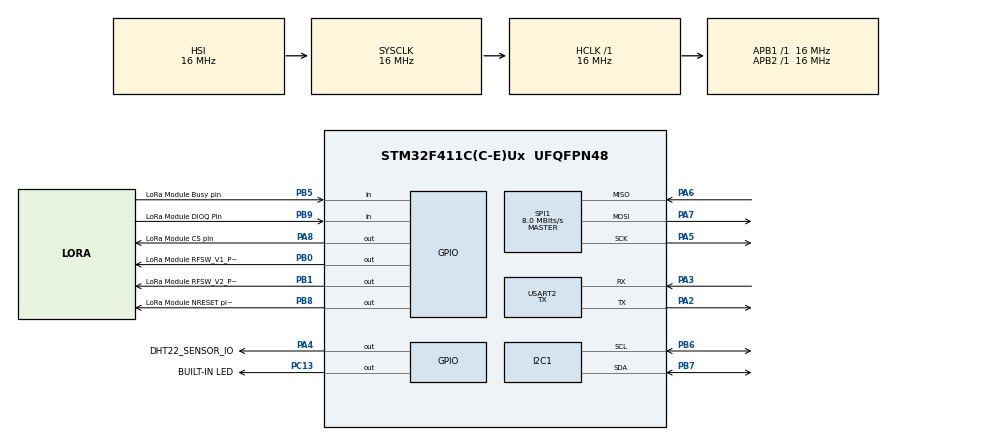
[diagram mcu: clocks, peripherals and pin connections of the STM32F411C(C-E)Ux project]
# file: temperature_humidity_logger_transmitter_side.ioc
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Mcu.Family=STM32F4
Mcu.Name=STM32F411C(C-E)Ux
Mcu.Package=UFQFPN48
NVIC.PriorityGroup=NVIC_PRIORITYGROUP_4
NVIC.RTC_WKUP_IRQn=true\:0\:0\:false\:false\:true\:true\:true\:true
PA0-WKUP.Mode=SYS_WakeUp0
PA0-WKUP.Signal=SYS_WKUP
PA2.GPIO_Speed=GPIO_SPEED_FREQ_LOW
PA2.Mode=Asynchronous
PA2.Signal=USART2_TX
PA3.GPIO_Speed=GPIO_SPEED_FREQ_LOW
PA3.Mode=Asynchronous
PA3.Signal=USART2_RX
PA4.GPIO_Label=DHT22_SENSOR_IO
PA4.GPIO_ModeDefaultOutputPP=GPIO_MODE_OUTPUT_OD
PA4.GPIO_PuPd=GPIO_PULLUP
PA4.PinState=GPIO_PIN_SET
PA4.Signal=GPIO_Output
PA5.GPIO_Speed=GPIO_SPEED_FREQ_LOW
PA5.Mode=Full_Duplex_Master
PA5.Signal=SPI1_SCK
PA6.GPIO_Speed=GPIO_SPEED_FREQ_LOW
PA6.Mode=Full_Duplex_Master
PA6.Signal=SPI1_MISO
PA7.GPIO_Speed=GPIO_SPEED_FREQ_LOW
PA7.Mode=Full_Duplex_Master
PA7.Signal=SPI1_MOSI
PA8.GPIO_Label=LoRa Module CS pin
PA8.PinState=GPIO_PIN_SET
PA8.Signal=GPIO_Output
PB0.GPIO_Label=LoRa Module RFSW_V1_PIN_POS
PB0.Signal=GPIO_Output
PB1.GPIO_Label=LoRa Module RFSW_V2_PIN_POS
PB1.Signal=GPIO_Output
PB5.GPIO_Label=LoRa Module Busy pin
PB5.Signal=GPIO_Input
PB6.Mode=I2C
PB6.Signal=I2C1_SCL
PB7.Mode=I2C
PB7.Signal=I2C1_SDA
PB8.GPIO_Label=LoRa Module NRESET pin (Active-Low)
PB8.PinState=GPIO_PIN_SET
PB8.Signal=GPIO_Output
PB9.GPIO_Label=LoRa Module DIOQ Pin
PB9.GPIO_PuPd=GPIO_PULLDOWN
PB9.Signal=GPIO_Input
PC13-ANTI_TAMP.GPIO_Label=BUILT-IN LED
PC13-ANTI_TAMP.PinState=GPIO_PIN_SET
PC13-ANTI_TAMP.Signal=GPIO_Output
PC14-OSC32_IN.Mode=LSE-External-Oscillator
PC14-OSC32_IN.Signal=RCC_OSC32_IN
PC15-OSC32_OUT.Mode=LSE-External-Oscillator
PC15-OSC32_OUT.Signal=RCC_OSC32_OUT
ProjectManager.HeapSize=0x200
ProjectManager.StackSize=0x400
ProjectManager.TargetToolchain=STM32CubeIDE
RCC.48MHZClocksFreq_Value=48000000
RCC.AHBFreq_Value=16000000
RCC.APB1Freq_Value=16000000
RCC.APB1TimFreq_Value=16000000
RCC.APB2Freq_Value=16000000
RCC.APB2TimFreq_Value=16000000
RCC.CortexFreq_Value=16000000
RCC.HCLKFreq_Value=16000000
RCC.HSE_VALUE=25000000
RCC.HSI_VALUE=16000000
RCC.RCC_RTC_Clock_Source=RCC_RTCCLKSOURCE_LSE
RCC.RCC_RTC_Clock_SourceVirtual=RCC_RTCCLKSOURCE_LSE
RCC.SYSCLKFreq_VALUE=16000000
RCC.VCOOutputFreq_Value=192000000
RTC.SynchPrediv=255
RTC.WakeUpClock=RTC_WAKEUPCLOCK_CK_SPRE_16BITS
SPI1.BaudRatePrescaler=SPI_BAUDRATEPRESCALER_2
SPI1.CLKPhase=SPI_PHASE_1EDGE
SPI1.CalculateBaudRate=8.0 MBits/s
SPI1.Direction=SPI_DIRECTION_2LINES
SPI1.Mode=SPI_MODE_MASTER
SPI1.VirtualType=VM_MASTER
TIM2.AutoReloadPreload=TIM_AUTORELOAD_PRELOAD_ENABLE
TIM2.Prescaler=15
USART2.Mode=MODE_TX
USART2.VirtualMode=VM_ASYNC
VP_RTC_VS_RTC_Activate.Mode=RTC_Enabled
VP_RTC_VS_RTC_WakeUp_intern.Mode=WakeUp
VP_TIM2_VS_ClockSourceINT.Mode=Internal
board=custom

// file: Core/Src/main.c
/* USER CODE BEGIN Header */
/**
  ******************************************************************************
  * @file           : main.c
  * @brief          : Main program body
  ******************************************************************************
  * @attention
  *
  * Copyright (c) 2026 STMicroelectronics.
  * All rights reserved.
  *
  * This software is licensed under terms that can be found in the LICENSE file
  * in the root directory of this software component.
  * If no LICENSE file comes with this software, it is provided AS-IS.
  *
  ******************************************************************************
  */
/* USER CODE END Header */
#include "main.h"

/* USER CODE BEGIN Includes */

#include "rylr689_driver.h"
//#include "gpio_driver.h"
#include <string.h>
#include "stm32_commons.h"
#include "dht22_driver.h"
#include "temp_hum_commons.h"

/* USER CODE END Includes */

I2C_HandleTypeDef hi2c1;

RTC_HandleTypeDef hrtc;

SPI_HandleTypeDef hspi1;

TIM_HandleTypeDef htim2;

UART_HandleTypeDef huart2;

void SystemClock_Config(void);
static void MX_GPIO_Init(void);
static void MX_RTC_Init(void);
static void MX_SPI1_Init(void);
static void MX_USART2_UART_Init(void);
static void MX_I2C1_Init(void);
static void MX_TIM2_Init(void);
/* USER CODE BEGIN PFP */
void processTempHumidSensorData(const raw_dht22_data_t *rawSensorData, dht22_data_t *sensorData);
int celsiusToFahrenheit(uint16_t rawTempReading);
/* USER CODE END PFP */

int main(void)
{

  /* MCU Configuration--------------------------------------------------------*/

  /* Reset of all peripherals, Initializes the Flash interface and the Systick. */
  HAL_Init();

  /* Configure the system clock */
  SystemClock_Config();

  /* Initialize all configured peripherals */
  MX_GPIO_Init();
  MX_RTC_Init();
  MX_SPI1_Init();
  MX_USART2_UART_Init();
  MX_I2C1_Init();
  MX_TIM2_Init();
  /* USER CODE BEGIN 2 */

    uint8_t status[256];
    rylr689_instance_t radio1 = {
  		  .spiHandle = &hspi1,
  		  .spiReceive = wrapper_spi_receive,
  		  .spiTransmit = wrapper_spi_transmit,
  		  .pinWrite = wrapper_pin_write,
  		  .pinRead = wrapper_pin_read,
  		  .rxBuff = status,
  		  .rxBuffSize = RX_BUFF_SIZE,
  		  .txBuff = status,
  		  .txBuffSize = TX_BUFF_SIZE
    };

    radio1.csPin.pin = LoRa_Module_CS_pin_Pin;
    radio1.csPin.port = LoRa_Module_CS_pin_GPIO_Port;
    radio1.busyPin.pin = LoRa_Module_Busy_pin_Pin;
    radio1.busyPin.port = LoRa_Module_Busy_pin_GPIO_Port;
    radio1.nresetPin.pin = LoRa_Module_NRESET_pin_Pin;
    radio1.nresetPin.port = LoRa_Module_NRESET_pin_GPIO_Port;
    radio1.itPin.pin = LoRa_Module_DIOQ_Pin_Pin;
    radio1.itPin.port = LoRa_Module_DIOQ_Pin_GPIO_Port;
    radio1.rfswV1Pin.pin = LoRa_Module_RFSW_V1_PIN_POS_Pin;
    radio1.rfswV1Pin.port = LoRa_Module_RFSW_V1_PIN_POS_GPIO_Port;
    radio1.rfswV2Pin.pin = LoRa_Module_RFSW_V2_PIN_POS_Pin;
    radio1.rfswV2Pin.port = LoRa_Module_RFSW_V2_PIN_POS_GPIO_Port;

    rylr689_radio_init(&radio1);

    /* Turn off built-in LED. */
    HAL_GPIO_WritePin(BUILT_IN_LED_GPIO_Port, BUILT_IN_LED_Pin, GPIO_PIN_SET);

    raw_dht22_data_t thRawSensorData;
    dht22_data_t thProcessedData;

    dht22_instance_t thSensor = {
    		.timerHandle = &htim2,
		.ioPin = {
				.port = DHT22_SENSOR_IO_GPIO_Port,
				.pin = DHT22_SENSOR_IO_Pin
		},
		.pinWrite = wrapper_pin_write,
		.pinRead = wrapper_pin_read,
		.changePinMode = wrapper_gpio_pin_mode_change,
		.delay_us = wrapper_timer_delay,
		.delay_ms = wrapper_delay,
		.getTime = wrapper_timer_get_time
    };

  /* USER CODE END 2 */

  /* Infinite loop */
  /* USER CODE BEGIN WHILE */
  while (1)
  {
	  HAL_TIM_Base_Start(&htim2);
	  if(dht22_read(&thSensor, &thRawSensorData)) {
		  /* Skip index 0. */
		  status[0] = STATUS_SENSOR_QUERY_OK;
		  memcpy(status + 1, (uint8_t*)&thRawSensorData, sizeof(raw_dht22_data_t));
//		  processTempHumidSensorData(&thRawSensorData, &thProcessedData);
//		  sprintf((char*)status, "Humidity: %d.%d%% Temp: %d.%d Celsius", thProcessedData.humidityInt, thProcessedData.humidityDec, thProcessedData.tempInt, thProcessedData.tempDec);
//		  HAL_UART_Transmit(&huart2, status, strlen((char*)status), 100);
	  }
	  else {
		  /* Turn on-board LED ON. */
		  HAL_GPIO_WritePin(BUILT_IN_LED_GPIO_Port, BUILT_IN_LED_Pin, GPIO_PIN_RESET);
		  status[0] = STATUS_SENSOR_QUERY_ERROR;
		  memset(status + 1, 0, sizeof(raw_dht22_data_t)); /* Fill the rest of the packet with null. */
		  HAL_Delay(500);
//		  sprintf((char*)status, "Error: failed to read sensor.");
	  }
	  HAL_TIM_Base_Stop(&htim2);

	  rylr689_radio_send(&radio1, sizeof(raw_dht22_data_t) + 1);

	  /* Sleep for 15 minutes. */
	  enterStandbyRtcWkTimer(&hrtc, 900);

    /* USER CODE END WHILE */

  }
}

void SystemClock_Config(void)
{
  RCC_OscInitTypeDef RCC_OscInitStruct = {0};
  RCC_ClkInitTypeDef RCC_ClkInitStruct = {0};

  /** Configure the main internal regulator output voltage
  */
  __HAL_RCC_PWR_CLK_ENABLE();
  __HAL_PWR_VOLTAGESCALING_CONFIG(PWR_REGULATOR_VOLTAGE_SCALE1);

  /** Initializes the RCC Oscillators according to the specified parameters
  * in the RCC_OscInitTypeDef structure.
  */
  RCC_OscInitStruct.OscillatorType = RCC_OSCILLATORTYPE_HSI|RCC_OSCILLATORTYPE_LSE;
  RCC_OscInitStruct.LSEState = RCC_LSE_ON;
  RCC_OscInitStruct.HSIState = RCC_HSI_ON;
  RCC_OscInitStruct.HSICalibrationValue = RCC_HSICALIBRATION_DEFAULT;
  RCC_OscInitStruct.PLL.PLLState = RCC_PLL_NONE;
  if (HAL_RCC_OscConfig(&RCC_OscInitStruct) != HAL_OK)
  {
    Error_Handler();
  }

  /** Initializes the CPU, AHB and APB buses clocks
  */
  RCC_ClkInitStruct.ClockType = RCC_CLOCKTYPE_HCLK|RCC_CLOCKTYPE_SYSCLK
                              |RCC_CLOCKTYPE_PCLK1|RCC_CLOCKTYPE_PCLK2;
  RCC_ClkInitStruct.SYSCLKSource = RCC_SYSCLKSOURCE_HSI;
  RCC_ClkInitStruct.AHBCLKDivider = RCC_SYSCLK_DIV1;
  RCC_ClkInitStruct.APB1CLKDivider = RCC_HCLK_DIV1;
  RCC_ClkInitStruct.APB2CLKDivider = RCC_HCLK_DIV1;

  if (HAL_RCC_ClockConfig(&RCC_ClkInitStruct, FLASH_LATENCY_0) != HAL_OK)
  {
    Error_Handler();
  }
}

static void MX_I2C1_Init(void)
{

  hi2c1.Instance = I2C1;
  hi2c1.Init.ClockSpeed = 100000;
  hi2c1.Init.DutyCycle = I2C_DUTYCYCLE_2;
  hi2c1.Init.OwnAddress1 = 0;
  hi2c1.Init.AddressingMode = I2C_ADDRESSINGMODE_7BIT;
  hi2c1.Init.DualAddressMode = I2C_DUALADDRESS_DISABLE;
  hi2c1.Init.OwnAddress2 = 0;
  hi2c1.Init.GeneralCallMode = I2C_GENERALCALL_DISABLE;
  hi2c1.Init.NoStretchMode = I2C_NOSTRETCH_DISABLE;
  if (HAL_I2C_Init(&hi2c1) != HAL_OK)
  {
    Error_Handler();
  }

}

static void MX_RTC_Init(void)
{

  RTC_TimeTypeDef sTime = {0};
  RTC_DateTypeDef sDate = {0};

  /** Initialize RTC Only
  */
  hrtc.Instance = RTC;
  hrtc.Init.HourFormat = RTC_HOURFORMAT_24;
  hrtc.Init.AsynchPrediv = 127;
  hrtc.Init.SynchPrediv = 255;
  hrtc.Init.OutPut = RTC_OUTPUT_DISABLE;
  hrtc.Init.OutPutPolarity = RTC_OUTPUT_POLARITY_HIGH;
  hrtc.Init.OutPutType = RTC_OUTPUT_TYPE_OPENDRAIN;
  if (HAL_RTC_Init(&hrtc) != HAL_OK)
  {
    Error_Handler();
  }

  /** Initialize RTC and set the Time and Date
  */
  sTime.Hours = 0x0;
  sTime.Minutes = 0x0;
  sTime.Seconds = 0x0;
  sTime.DayLightSaving = RTC_DAYLIGHTSAVING_NONE;
  sTime.StoreOperation = RTC_STOREOPERATION_RESET;
  if (HAL_RTC_SetTime(&hrtc, &sTime, RTC_FORMAT_BCD) != HAL_OK)
  {
    Error_Handler();
  }
  sDate.WeekDay = RTC_WEEKDAY_MONDAY;
  sDate.Month = RTC_MONTH_JANUARY;
  sDate.Date = 0x1;
  sDate.Year = 0x0;

  if (HAL_RTC_SetDate(&hrtc, &sDate, RTC_FORMAT_BCD) != HAL_OK)
  {
    Error_Handler();
  }

  /** Enable the WakeUp
  */
  if (HAL_RTCEx_SetWakeUpTimer_IT(&hrtc, 0, RTC_WAKEUPCLOCK_CK_SPRE_16BITS) != HAL_OK)
  {
    Error_Handler();
  }

}

static void MX_SPI1_Init(void)
{

  /* SPI1 parameter configuration*/
  hspi1.Instance = SPI1;
  hspi1.Init.Mode = SPI_MODE_MASTER;
  hspi1.Init.Direction = SPI_DIRECTION_2LINES;
  hspi1.Init.DataSize = SPI_DATASIZE_8BIT;
  hspi1.Init.CLKPolarity = SPI_POLARITY_LOW;
  hspi1.Init.CLKPhase = SPI_PHASE_1EDGE;
  hspi1.Init.NSS = SPI_NSS_SOFT;
  hspi1.Init.BaudRatePrescaler = SPI_BAUDRATEPRESCALER_2;
  hspi1.Init.FirstBit = SPI_FIRSTBIT_MSB;
  hspi1.Init.TIMode = SPI_TIMODE_DISABLE;
  hspi1.Init.CRCCalculation = SPI_CRCCALCULATION_DISABLE;
  hspi1.Init.CRCPolynomial = 10;
  if (HAL_SPI_Init(&hspi1) != HAL_OK)
  {
    Error_Handler();
  }

}

static void MX_TIM2_Init(void)
{

  TIM_ClockConfigTypeDef sClockSourceConfig = {0};
  TIM_MasterConfigTypeDef sMasterConfig = {0};

  htim2.Instance = TIM2;
  htim2.Init.Prescaler = 15;
  htim2.Init.CounterMode = TIM_COUNTERMODE_UP;
  htim2.Init.Period = 4294967295;
  htim2.Init.ClockDivision = TIM_CLOCKDIVISION_DIV1;
  htim2.Init.AutoReloadPreload = TIM_AUTORELOAD_PRELOAD_ENABLE;
  if (HAL_TIM_Base_Init(&htim2) != HAL_OK)
  {
    Error_Handler();
  }
  sClockSourceConfig.ClockSource = TIM_CLOCKSOURCE_INTERNAL;
  if (HAL_TIM_ConfigClockSource(&htim2, &sClockSourceConfig) != HAL_OK)
  {
    Error_Handler();
  }
  sMasterConfig.MasterOutputTrigger = TIM_TRGO_RESET;
  sMasterConfig.MasterSlaveMode = TIM_MASTERSLAVEMODE_DISABLE;
  if (HAL_TIMEx_MasterConfigSynchronization(&htim2, &sMasterConfig) != HAL_OK)
  {
    Error_Handler();
  }

}

static void MX_USART2_UART_Init(void)
{

  huart2.Instance = USART2;
  huart2.Init.BaudRate = 115200;
  huart2.Init.WordLength = UART_WORDLENGTH_8B;
  huart2.Init.StopBits = UART_STOPBITS_1;
  huart2.Init.Parity = UART_PARITY_NONE;
  huart2.Init.Mode = UART_MODE_TX;
  huart2.Init.HwFlowCtl = UART_HWCONTROL_NONE;
  huart2.Init.OverSampling = UART_OVERSAMPLING_16;
  if (HAL_UART_Init(&huart2) != HAL_OK)
  {
    Error_Handler();
  }

}

static void MX_GPIO_Init(void)
{
  GPIO_InitTypeDef GPIO_InitStruct = {0};

  /* GPIO Ports Clock Enable */
  __HAL_RCC_GPIOC_CLK_ENABLE();
  __HAL_RCC_GPIOA_CLK_ENABLE();
  __HAL_RCC_GPIOB_CLK_ENABLE();

  /*Configure GPIO pin Output Level */
  HAL_GPIO_WritePin(BUILT_IN_LED_GPIO_Port, BUILT_IN_LED_Pin, GPIO_PIN_SET);

  /*Configure GPIO pin Output Level */
  HAL_GPIO_WritePin(GPIOA, DHT22_SENSOR_IO_Pin|LoRa_Module_CS_pin_Pin, GPIO_PIN_SET);

  /*Configure GPIO pin Output Level */
  HAL_GPIO_WritePin(GPIOB, LoRa_Module_RFSW_V1_PIN_POS_Pin|LoRa_Module_RFSW_V2_PIN_POS_Pin, GPIO_PIN_RESET);

  /*Configure GPIO pin Output Level */
  HAL_GPIO_WritePin(LoRa_Module_NRESET_pin_GPIO_Port, LoRa_Module_NRESET_pin_Pin, GPIO_PIN_SET);

  /*Configure GPIO pin : BUILT_IN_LED_Pin */
  GPIO_InitStruct.Pin = BUILT_IN_LED_Pin;
  GPIO_InitStruct.Mode = GPIO_MODE_OUTPUT_PP;
  GPIO_InitStruct.Pull = GPIO_NOPULL;
  GPIO_InitStruct.Speed = GPIO_SPEED_FREQ_LOW;
  HAL_GPIO_Init(BUILT_IN_LED_GPIO_Port, &GPIO_InitStruct);

  /*Configure GPIO pin : DHT22_SENSOR_IO_Pin */
  GPIO_InitStruct.Pin = DHT22_SENSOR_IO_Pin;
  GPIO_InitStruct.Mode = GPIO_MODE_OUTPUT_OD;
  GPIO_InitStruct.Pull = GPIO_PULLUP;
  GPIO_InitStruct.Speed = GPIO_SPEED_FREQ_LOW;
  HAL_GPIO_Init(DHT22_SENSOR_IO_GPIO_Port, &GPIO_InitStruct);

  /*Configure GPIO pins : LoRa_Module_RFSW_V1_PIN_POS_Pin LoRa_Module_RFSW_V2_PIN_POS_Pin LoRa_Module_NRESET_pin_Pin */
  GPIO_InitStruct.Pin = LoRa_Module_RFSW_V1_PIN_POS_Pin|LoRa_Module_RFSW_V2_PIN_POS_Pin|LoRa_Module_NRESET_pin_Pin;
  GPIO_InitStruct.Mode = GPIO_MODE_OUTPUT_PP;
  GPIO_InitStruct.Pull = GPIO_NOPULL;
  GPIO_InitStruct.Speed = GPIO_SPEED_FREQ_LOW;
  HAL_GPIO_Init(GPIOB, &GPIO_InitStruct);

  /*Configure GPIO pin : LoRa_Module_CS_pin_Pin */
  GPIO_InitStruct.Pin = LoRa_Module_CS_pin_Pin;
  GPIO_InitStruct.Mode = GPIO_MODE_OUTPUT_PP;
  GPIO_InitStruct.Pull = GPIO_NOPULL;
  GPIO_InitStruct.Speed = GPIO_SPEED_FREQ_LOW;
  HAL_GPIO_Init(LoRa_Module_CS_pin_GPIO_Port, &GPIO_InitStruct);

  /*Configure GPIO pin : LoRa_Module_Busy_pin_Pin */
  GPIO_InitStruct.Pin = LoRa_Module_Busy_pin_Pin;
  GPIO_InitStruct.Mode = GPIO_MODE_INPUT;
  GPIO_InitStruct.Pull = GPIO_NOPULL;
  HAL_GPIO_Init(LoRa_Module_Busy_pin_GPIO_Port, &GPIO_InitStruct);

  /*Configure GPIO pin : LoRa_Module_DIOQ_Pin_Pin */
  GPIO_InitStruct.Pin = LoRa_Module_DIOQ_Pin_Pin;
  GPIO_InitStruct.Mode = GPIO_MODE_INPUT;
  GPIO_InitStruct.Pull = GPIO_PULLDOWN;
  HAL_GPIO_Init(LoRa_Module_DIOQ_Pin_GPIO_Port, &GPIO_InitStruct);

}

/* USER CODE BEGIN 4 */

/* Converts the raw temperature reading to Fahrenheit.
 * Param: raw bits temperature reading.
 * Return value: int value where decimal is moved to right one place.
 *               hence, it must be divided by 10 afterwards to get
 *               correct Integer and Decimal value. */
int celsiusToFahrenheit(uint16_t rawTempReading) {
	/* Enable full access to FPU Coprocessor. */
	SCB->CPACR |= ((3UL << 10*2) | (3UL << 11*2));

	/* Convert to int first. */
	int wholeTempReading = ((int)(rawTempReading & 0x7FFF));

	/* Negate if MSB is set. */
	if(rawTempReading & 0x8000U) {
		wholeTempReading *= -1;
	}

	/* Convert to float and adjust decimal point position. */
	float tempInCelsius = (float)wholeTempReading / 10.0;

	/* Formula: (Celsius * 9/5) + 32 = Fahrenheit. */
	float tempInFahrenheit = (tempInCelsius * 9.0/5.0) + 32.0f;

	/* Convert back to int. */
	int rawFahr = tempInFahrenheit * 10;

	/* Disable full access to FPU Coprocessor to save power. */
	SCB->CPACR &= ~((3UL << 10*2) | (3UL << 11*2));

	return rawFahr;
} /* End of celsiusToFahrenheit(). */

/* USER CODE END 4 */

void Error_Handler(void)
{
  __disable_irq();
  while (1)
  {
  }
}
